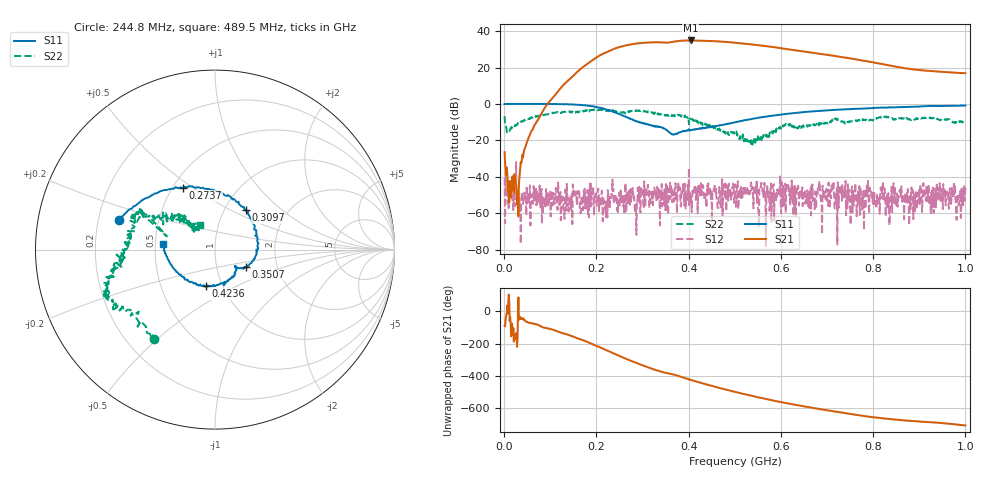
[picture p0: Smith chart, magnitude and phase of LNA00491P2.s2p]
! Created with skrf 1.9.0 (http://scikit-rf.org).
# Hz S RI R 50.0
!freq ReS11 ImS11 ReS21 ImS21 ReS12 ImS12 ReS22 ImS22
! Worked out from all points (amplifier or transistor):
!   1001 points, 1 MHz to 1 GHz, reference 50 ohm
!   highest |S21| = 34.9 dB at 404.6 MHz (marker M1)
!   |S21| within 3 dB of that: 259.8 MHz to 563.4 MHz (303.6 MHz wide, 73.8 % of centre)
!   unconditionally stable (mu >= 1): 235.3 MHz to 303.6 MHz; 303.9 MHz to 400.5 MHz; 400.7 MHz to end of sweep (the widest 3 of 45)
!   at 166.8 MHz: K = 2.44, MAG = 31.8 dB, |S12| = -57.6 dB
!   at 500.5 MHz: K = 1.60, MAG = 34.4 dB, |S12| = -44.3 dB
!   at 1 GHz: K = 2.51, MAG = 24.5 dB, |S12| = -45.7 dB
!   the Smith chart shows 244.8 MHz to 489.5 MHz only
!   S11 on the Smith chart (normalised r, x): 244.8 MHz: 0.29, +0.14; 273.7 MHz: 0.56, +0.45; 309.7 MHz: 1.25, +0.60; 350.6 MHz: 1.38, -0.29; 423.6 MHz: 0.83, -0.35; 489.5 MHz: 0.55, +0.03
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1000000  0.99 0.0143  0.00104 -0.0475  -0.00857 0.00282  0.3306 0.3261
1.08892e8  0.5242 -0.8469  -0.7795 -1.479  0.00122 -0.00147  0.4191 -0.3893
1.67833e8  -0.2294 -0.9044  -9.591 -0.6281  -4.4e-05 -0.00288  0.0341 -0.6406
2.1079e8  -0.6711 -0.3746  -15.29 16.6  -0.002 -0.00216  -0.2418 -0.6499
2.44756e8  -0.5333 0.1667  0.5489 34.89  3.21e-07 0.00117  -0.3415 -0.4972
2.73727e8  -0.1792 0.343  25.62 34.31  -0.00107 -0.00434  -0.5539 -0.3017
3.09691e8  0.1714 0.22  47.09 11.73  -0.00169 0.00269  -0.59 -0.1574
3.34666e8  0.2408 0.00567  48.48 -8.966  -0.000523 0.00467  -0.509 -0.047
3.5065e8  0.1725 -0.099  44.25 -18.89  0.00209 0.00597  -0.4844 0.0107
3.76624e8  0.1193 -0.1042  40.27 -34.7  -0.00168 0.00507  -0.4668 0.1751
4.04596e8  0.0465 -0.1864  22.02 -50.7  -0.000464 0.0029  -0.3429 0.1903
4.23577e8  -0.0522 -0.2021  7.037 -54.35  0.00191 0.00249  -0.2406 0.1808
4.55545e8  -0.2042 -0.1337  -16.15 -50.16  0.00356 0.00309  -0.1761 0.1517
4.89511e8  -0.2915 0.0287  -33.8 -35.93  0.0025 0.00155  -0.0829 0.1369
5.005e8  -0.3017 0.0937  -37.5 -30.19  0.00436 0.00429  -0.1066 0.1038
5.39461e8  -0.2473 0.306  -41.55 -9.289  0.00303 -0.000185  -0.0985 -0.00459
5.85415e8  -0.0688 0.4788  -34.72 10.05  -0.000428 0.000452  -0.1697 -0.0456
6.25375e8  0.1248 0.5426  -23.74 18.83  0.00421 -0.00452  -0.24 -0.0724
6.67333e8  0.3216 0.5348  -12.77 21.95  0.0017 -0.00207  -0.2638 -0.0132
7.53247e8  0.6241 0.3699  2.924 17.24  -0.00202 -0.00415  -0.3232 0.0719
8.34166e8  0.7863 0.1487  7.299 8.855  -0.00229 0.000352  -0.3915 0.1601
1e9  0.8146 -0.3889  6.907 1.245  -0.00489 -0.00167  -0.0691 0.3069
